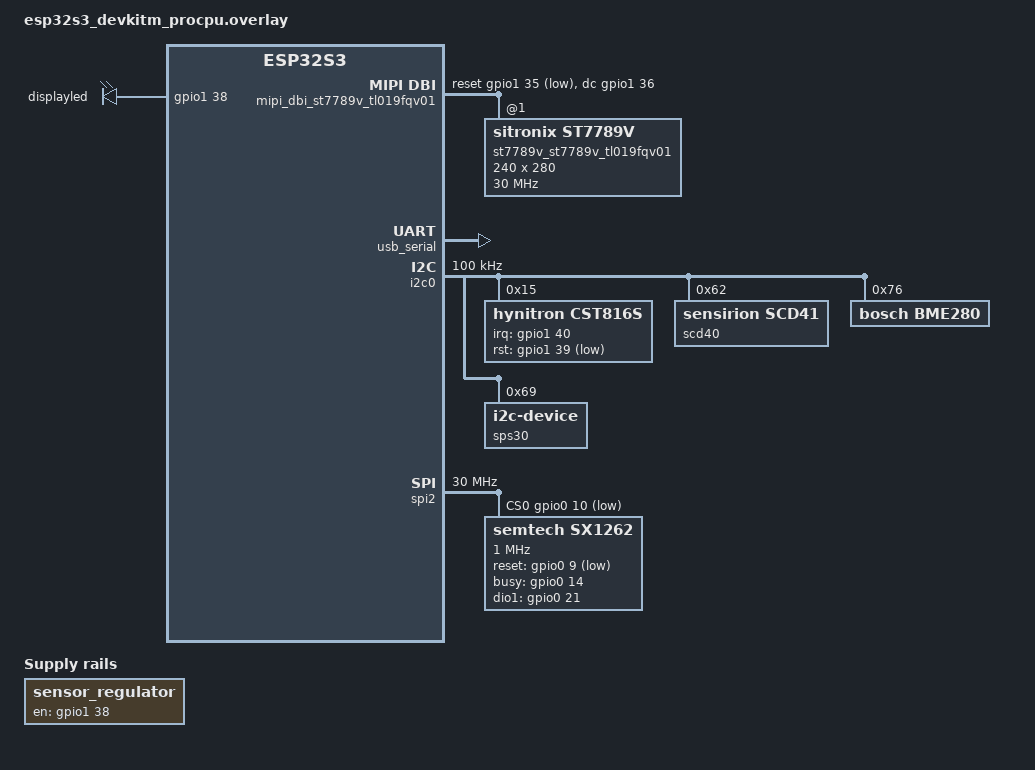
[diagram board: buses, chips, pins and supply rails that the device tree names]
#include <zephyr/dt-bindings/pwm/pwm.h>

/ {
	chosen {
		zephyr,display = &st7789v_st7789v_tl019fqv01;
		zephyr,console = &usb_serial;
		zephyr,shell-uart = &usb_serial;
	};

	pointer {
		compatible = "zephyr,lvgl-pointer-input";
		input = <&cst816s>;
	};

	aliases {
		lora0 = &sx1262;
		scd4x = &scd40;
		bme280 = &bme280;
		sps30 = &sps30;
	};

	leds {
		compatible = "gpio-leds";
		displayled: led_0 {
			gpios = <&gpio1 38 GPIO_ACTIVE_HIGH>;
		};
	};

	sensor_regulator: sensor_regulator {
        compatible = "regulator-fixed";
        regulator-name = "sensor_regulator";
        enable-gpios = <&gpio1 38 GPIO_ACTIVE_HIGH>;
        regulator-boot-on;
    };

	mipi_dbi_st7789v_tl019fqv01 {
		status = "okay";
		compatible = "zephyr,mipi-dbi-spi";
		spi-dev = <&spi2>;
		dc-gpios = <&gpio1 36 GPIO_ACTIVE_HIGH>;	/* D9 */
		reset-gpios = <&gpio1 35 GPIO_ACTIVE_LOW>;	/* D8 */
		write-only;
		#address-cells = <1>;
		#size-cells = <0>;

		st7789v_st7789v_tl019fqv01: st7789v@1 {
			status = "okay";
			compatible = "sitronix,st7789v";
			mipi-max-frequency = <DT_FREQ_M(30)>;
			reg = <1>;
			width = <240>;
			height = <280>;
			x-offset = <0>;
			y-offset = <20>;
			vcom = <0x19>;
			gctrl = <0x35>;
			vrhs = <0x12>;
			vdvs = <0x20>;
			mdac = <0x00>;
			gamma = <0x01>;
			colmod = <0x05>;
			lcm = <0x2c>;
			porch-param = [0c 0c 00 33 33];
			cmd2en-param = [5a 69 02 01];
			pwctrl1-param = [a4 a1];
			pvgam-param = [D0 04 0D 11 13 2B 3F 54 4C 18 0D 0B 1F 23];
			nvgam-param = [D0 04 0C 11 13 2C 3F 44 51 2F 1F 1F 20 23];
			ram-param = [00 F0];
			rgb-param = [CD 08 14];
			mipi-mode = "MIPI_DBI_MODE_SPI_4WIRE";
		};
	};
};

&usb_serial {
	status = "okay";
};

&i2c0_default {
	group1 {
		pinmux = <I2C0_SDA_GPIO1>,
				<I2C0_SCL_GPIO2>;
		drive-open-drain;
		output-high;
	};
};

&i2c0 {
    status = "okay";
	clock-frequency = <I2C_BITRATE_STANDARD>;
	pinctrl-0 = <&i2c0_default>;
	pinctrl-names = "default";

    cst816s: cst816s@15 {
		compatible = "hynitron,cst816s";
		status = "okay";
		reg = <0x15>;
		irq-gpios = <&gpio1 40 GPIO_ACTIVE_HIGH>;
		rst-gpios = <&gpio1 39 GPIO_ACTIVE_LOW>;
	};

	scd40: scd40@62 {
        status = "okay";
        reg = <0x62>;
		mode = <0>;
        compatible = "sensirion,scd41";
    };

	bme280: bme280@76 {
		compatible = "bosch,bme280";
		reg = <0x76>;
	};

	sps30: sps30@69{
        compatible = "i2c-device";
        reg = < 0x69 >;
        label = "sps30";
    };
};

&spim2_default {
	group1 {
		pinmux = <SPIM2_MISO_GPIO13>,
				<SPIM2_SCLK_GPIO12>;
	};

	group2 {
		pinmux = <SPIM2_MOSI_GPIO11>;
		output-low;
	};
};

&spi2 {
	#address-cells = <1>;
	#size-cells = <0>;
	status = "okay";
	pinctrl-0 = <&spim2_default>;
	pinctrl-names = "default";
	clock-frequency = <DT_FREQ_M(30)>;
	cs-gpios = <&gpio0 10 GPIO_ACTIVE_LOW>,
			   <&gpio1 37 GPIO_ACTIVE_LOW>;

	sx1262: sx1262@0 {
		compatible = "semtech,sx1262";
		reg = <0>;
		spi-max-frequency = <DT_FREQ_M(1)>;
		label = "SX1262";
		reset-gpios = <&gpio0 9 GPIO_ACTIVE_LOW>;
		busy-gpios = <&gpio0 14 GPIO_ACTIVE_HIGH>;
		dio1-gpios = <&gpio0 21 GPIO_ACTIVE_HIGH>;
		dio2-tx-enable;
		rx-boosted;
	};
};

&dma {
	status = "okay";
};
